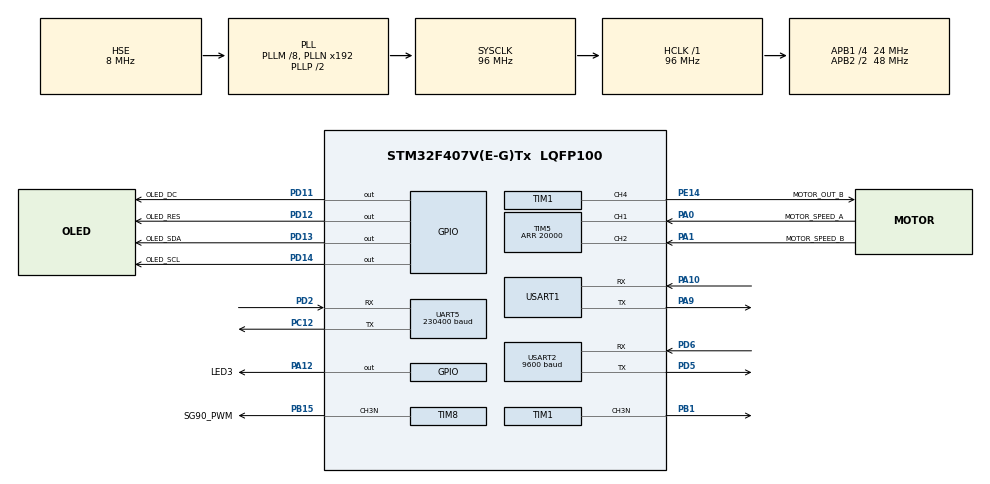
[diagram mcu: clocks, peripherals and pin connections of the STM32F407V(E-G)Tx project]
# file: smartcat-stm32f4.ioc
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Mcu.Family=STM32F4
Mcu.Name=STM32F407V(E-G)Tx
Mcu.Package=LQFP100
NVIC.PriorityGroup=NVIC_PRIORITYGROUP_4
NVIC.TIM3_IRQn=true\:0\:0\:false\:false\:true\:true\:true\:true
NVIC.TIM5_IRQn=true\:0\:0\:false\:false\:true\:true\:true\:true
NVIC.UART5_IRQn=true\:0\:0\:false\:false\:true\:true\:true\:true
NVIC.USART1_IRQn=true\:0\:0\:false\:false\:true\:true\:true\:true
NVIC.USART2_IRQn=true\:0\:0\:false\:false\:true\:true\:true\:true
PA0-WKUP.GPIO_Label=MOTOR_SPEED_A
PA0-WKUP.GPIO_PuPd=GPIO_PULLDOWN
PA0-WKUP.Signal=S_TIM5_CH1
PA1.GPIO_Label=MOTOR_SPEED_B
PA1.GPIO_PuPd=GPIO_PULLDOWN
PA1.Signal=S_TIM5_CH2
PA10.Mode=Asynchronous
PA10.Signal=USART1_RX
PA12.GPIO_Label=LED3
PA12.GPIO_PuPd=GPIO_PULLUP
PA12.Signal=GPIO_Output
PA13.Mode=Serial_Wire
PA13.Signal=SYS_JTMS-SWDIO
PA14.Mode=Serial_Wire
PA14.Signal=SYS_JTCK-SWCLK
PA9.Mode=Asynchronous
PA9.Signal=USART1_TX
PB1.Mode=PWM Generation3 CH3N
PB1.Signal=TIM1_CH3N
PB15.GPIO_Label=SG90_PWM
PB15.Mode=PWM Generation3 CH3N
PB15.Signal=TIM8_CH3N
PB3.GPIO_Label=MONTO_SPEED_B
PB3.GPIO_PuPd=GPIO_PULLUP
PB3.Signal=S_TIM2_CH2
PC12.Mode=Asynchronous
PC12.Signal=UART5_TX
PC14-OSC32_IN.Mode=LSE-External-Oscillator
PC14-OSC32_IN.Signal=RCC_OSC32_IN
PC15-OSC32_OUT.Mode=LSE-External-Oscillator
PC15-OSC32_OUT.Signal=RCC_OSC32_OUT
PD11.GPIO_Label=OLED_DC
PD11.GPIO_ModeDefaultOutputPP=GPIO_MODE_OUTPUT_PP
PD11.GPIO_PuPd=GPIO_NOPULL
PD11.GPIO_Speed=GPIO_SPEED_FREQ_HIGH
PD11.PinState=GPIO_PIN_SET
PD11.Signal=GPIO_Output
PD12.GPIO_Label=OLED_RES
PD12.GPIO_ModeDefaultOutputPP=GPIO_MODE_OUTPUT_PP
PD12.GPIO_PuPd=GPIO_NOPULL
PD12.GPIO_Speed=GPIO_SPEED_FREQ_HIGH
PD12.PinState=GPIO_PIN_SET
PD12.Signal=GPIO_Output
PD13.GPIO_Label=OLED_SDA
PD13.GPIO_ModeDefaultOutputPP=GPIO_MODE_OUTPUT_PP
PD13.GPIO_PuPd=GPIO_NOPULL
PD13.GPIO_Speed=GPIO_SPEED_FREQ_HIGH
PD13.PinState=GPIO_PIN_SET
PD13.Signal=GPIO_Output
PD14.GPIO_Label=OLED_SCL
PD14.GPIO_ModeDefaultOutputPP=GPIO_MODE_OUTPUT_PP
PD14.GPIO_PuPd=GPIO_NOPULL
PD14.GPIO_Speed=GPIO_SPEED_FREQ_HIGH
PD14.PinState=GPIO_PIN_SET
PD14.Signal=GPIO_Output
PD2.Mode=Asynchronous
PD2.Signal=UART5_RX
PD5.Mode=Asynchronous
PD5.Signal=USART2_TX
PD6.Mode=Asynchronous
PD6.Signal=USART2_RX
PE13.GPIO_Label=MOTOR_OUT_A
PE13.Signal=S_TIM1_CH3
PE14.GPIO_Label=MOTOR_OUT_B
PE14.Signal=S_TIM1_CH4
PH0-OSC_IN.Mode=HSE-External-Oscillator
PH0-OSC_IN.Signal=RCC_OSC_IN
PH1-OSC_OUT.Mode=HSE-External-Oscillator
PH1-OSC_OUT.Signal=RCC_OSC_OUT
ProjectManager.HeapSize=0x200
ProjectManager.StackSize=0x400
ProjectManager.TargetToolchain=MDK-ARM V5.32
RCC.48MHZClocksFreq_Value=48000000
RCC.AHBFreq_Value=96000000
RCC.APB1CLKDivider=RCC_HCLK_DIV4
RCC.APB1Freq_Value=24000000
RCC.APB1TimFreq_Value=48000000
RCC.APB2CLKDivider=RCC_HCLK_DIV2
RCC.APB2Freq_Value=48000000
RCC.APB2TimFreq_Value=96000000
RCC.CortexFreq_Value=96000000
RCC.HCLKFreq_Value=96000000
RCC.HSE_VALUE=8000000
RCC.HSI_VALUE=16000000
RCC.PLLM=8
RCC.PLLSourceVirtual=RCC_PLLSOURCE_HSE
RCC.SYSCLKFreq_VALUE=96000000
RCC.SYSCLKSource=RCC_SYSCLKSOURCE_PLLCLK
RCC.VCOOutputFreq_Value=192000000
SH.S_TIM1_CH3.0=TIM1_CH3
SH.S_TIM1_CH4.0=TIM1_CH4,PWM Generation4 CH4
SH.S_TIM2_CH2.0=TIM2_CH2
SH.S_TIM5_CH1.0=TIM5_CH1,Encoder_Interface
SH.S_TIM5_CH2.0=TIM5_CH2,Encoder_Interface
TIM1.AutoReloadPreload=TIM_AUTORELOAD_PRELOAD_ENABLE
TIM1.Channel-PWM\ Generation3\ CH3N=TIM_CHANNEL_3
TIM1.Channel-PWM\ Generation4\ CH4=TIM_CHANNEL_4
TIM1.Period=20000-1
TIM1.Prescaler=96-1
TIM1.Pulse-PWM\ Generation4\ CH4=500
TIM3.AutoReloadPreload=TIM_AUTORELOAD_PRELOAD_ENABLE
TIM3.Period=10000-1
TIM3.Prescaler=480-1
TIM5.AutoReloadPreload=TIM_AUTORELOAD_PRELOAD_ENABLE
TIM5.EncoderMode=TIM_ENCODERMODE_TI12
TIM5.IC1Filter=15
TIM5.IC2Filter=15
TIM5.Period=20000
TIM8.AutoReloadPreload=TIM_AUTORELOAD_PRELOAD_ENABLE
TIM8.Channel-PWM\ Generation3\ CH3=TIM_CHANNEL_3
TIM8.Channel-PWM\ Generation3\ CH3N=TIM_CHANNEL_3
TIM8.Channel-PWM\ Generation4\ CH4=TIM_CHANNEL_4
TIM8.Period=20000-1
TIM8.Prescaler=96-1
UART5.BaudRate=230400
UART5.Mode=MODE_TX_RX
UART5.VirtualMode=Asynchronous
USART1.VirtualMode=VM_ASYNC
USART2.BaudRate=9600
USART2.VirtualMode=VM_ASYNC
VP_TIM1_VS_ClockSourceINT.Mode=Internal
VP_TIM3_VS_ClockSourceINT.Mode=Internal
VP_TIM8_VS_ClockSourceINT.Mode=Internal
board=custom

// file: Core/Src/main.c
/* USER CODE BEGIN Header */
/**
  ******************************************************************************
  * @file           : main.c
  * @brief          : Main program body
  ******************************************************************************
  * @attention
  *
  * Copyright (c) 2024 STMicroelectronics.
  * All rights reserved.
  *
  * This software is licensed under terms that can be found in the LICENSE file
  * in the root directory of this software component.
  * If no LICENSE file comes with this software, it is provided AS-IS.
  *
  ******************************************************************************
  */
/* USER CODE END Header */
#include "main.h"
#include "tim.h"
#include "usart.h"
#include "gpio.h"

/* USER CODE BEGIN Includes */
#include "sg90.h"
#include "ms200.h"
#include "motor.h"
#include "oled.h"
#include "Remote_OLED_display.h"
#include "pid.h"
#include "turn.h"
#include "linearRegression.h"
#include "sg90_test.h"
/* USER CODE END Includes */

/* 卡尔曼滤波器结构?? */
typedef struct {
    float Q;    // 过程噪声协方??
    float R;    // 测量噪声协方??
    float P;    // 估计误差协方??
    float K;    // 卡尔曼增??
    float X;    // 状态估计??
} KalmanFilter;

/* USER CODE BEGIN PD */

/* ========== 舵机调试测试开关 ========== */
/* 设为 1 启用舵机测试模式，设为 0 正常运行 */
#define ENABLE_SG90_TEST 0

/* 舵机测试模式选择（仅当 ENABLE_SG90_TEST = 1 时生效） */
#define SG90_TEST_MODE_SWEEP 1      // 扫动测试
#define SG90_TEST_MODE_STEP  2      // 单步测试
#define SG90_TEST_MODE SG90_TEST_MODE_SWEEP  // 当前测试模式

#ifndef PI
#define PI 3.14159265358979323846
#endif

// ========== 基于速度的卡住检测参数 ==========
#define SPEED_STUCK_THRESHOLD 5.0f        // 速度阈值(mm/s)，低于此值认为可能被卡
#define SPEED_STUCK_CHECK_CYCLES 20       // 连续检测周期数(20*50ms=1秒)
#define SPEED_STUCK_MIN_COMMAND 20        // 最小命令速度，低于此值不检测卡住
#define SPEED_STUCK_BACK_TIME 1000         // 被卡后倒退时间(ms)
#define SPEED_STUCK_RECOVERY_ANGLE 35     // 被卡后恢复转向角度

// ========== 侧边蹭边保护（多角度检测）==========

#define SIDE_10_WARNING_DISTANCE 500   // 10°侧边警告距离(mm)
#define SIDE_10_AVOIDANCE_ANGLE 60     // 10°避让角度增量(度)

#define SIDE_15_WARNING_DISTANCE 400   // 15°侧边警告距离(mm)
#define SIDE_15_AVOIDANCE_ANGLE 60      // 15°避让角度增量(度)

#define SIDE_20_WARNING_DISTANCE 350   // 20°侧边警告距离(mm)
#define SIDE_20_AVOIDANCE_ANGLE 60      // 20°避让角度增量(度)

#define SIDE_60_WARNING_DISTANCE 200   // 60°侧边警告距离(mm)
#define SIDE_60_AVOIDANCE_ANGLE 10     // 60°避让角度增量(度)

#define SIDE_150_WARNING_DISTANCE 450  // 150°侧边警告距离(mm)
#define SIDE_150_AVOIDANCE_ANGLE 5    // 150°避让角度增量(度)，更大因为更侧面

// 分段预警距离定义
#define HOUTUI_WARNING 42
#define DEFAULT_WARRING_DISTANCE_CENTER 420   // 中心10°预警距离(0°-10°, 350°-360°)
#define DEFAULT_WARRING_DISTANCE_INNER  220   // 内侧预警距离(10°-20°, 340°-350°)
#define DEFAULT_WARRING_DISTANCE_OUTER  180   // 外侧预警距离(20°-45°, 315°-340°)
#define REVERSE_COEFFICIENT_CENTER 1.00f   // 中心区域后退系数
#define REVERSE_COEFFICIENT_INNER  1.29f  // 内侧区域后退系数
#define REVERSE_COEFFICIENT_OUTER  1.4f   // 外侧区域后退系数
#define ATTENUATION_COEFFICIENT_CENTER 0.5f   // 中心区域衰减系数
#define ATTENUATION_COEFFICIENT_INNER  0.85f   // 内侧区域衰减系数
#define ATTENUATION_COEFFICIENT_OUTER  0.86f   // 外侧区域衰减系数
#define NUM_ATTENUATION_CYCLES 15             // 衰减周期??

// 预警减速功??
#define JIANSU_DISTANCE 400         // 触发减速的距离阈??(mm)
#define SAFE_SPEED 35               // 减速后的安全速度
#define JIANSU_RECOVERY_DISTANCE 500 // 恢复正常速度的距离阈??(mm)

// 速度控制
#define DEFAULT_SPEED 32  //转弯时的速度
#define DEFAULT_HIGH_SPEED 35 //直道时的速度
#define DEFAULT_AFTER_BACK_ANGLE 30//默认倒车后偏离的角度
#define DEFAULT_BACK_SPEED 70
#define DEFAULT_BACK_HIGH_SPEED 70
#define DEFAULT_STOP_SPEED -100 //紧急止动速度

//曲率判断
#define CURVATURE_THRESHOLD_SHARP 600.0f   // 改小，提前识别急弯
#define CURVATURE_SHARP_EXIT  CURVATURE_THRESHOLD_SHARP * 0.90     // 退出急弯阈值（15%滞后??
#define CURVATURE_THRESHOLD_NORMAL 100.0f  // 改小，提前识别普通弯
#define CURVATURE_NORMAL_EXIT  CURVATURE_THRESHOLD_NORMAL * 0.85    // 退出普通弯阈值（15%滞后??
#define SHARP_DECELERATION_FACTER 0.7f
#define NORMAL_DECELERATION_FACTER 1.0f

#define STRAIGHT_ANGLE_MULTIPLIER 1.2f   // 直道状况下的转角放大系数（可调整，如1.2f表示放大20%）

//U弯检测变??
#define ENTER_U 800.0f         // U弯判定阈值（转角绝对值）
#define NUM_MORE_ANGLE 10.0f   // U弯转角放大系??
static int u_turn_state = 0;          // U弯状态标志：0=正常??1=U弯中

//曲率弯道检测变??
#define CURVATURE_ENTER_THRESHOLD 100.0f    // 曲率弯道判定阈??
#define CURVATURE_ANGLE_MULTIPLIER 1.6f    // 曲率弯道转角放大系数
static int curvature_turn_state = 0;       // 曲率弯道状态标志：0=正常??1=曲率弯道??

static int current_pid_mode = 1;  // 当前PID模式??1/2/3
static int pid_lock_timer = 0;    // PID切换锁定计时??
#define PID_LOCK_CYCLES 5          // PID切换后的锁定周期

/* USER CODE END PD */

static KalmanFilter curvature_kf;
static float filtered_max_curvature = 0.0f;

// 减速功能状态变??
static int deceleration_state = 0;      // 减速状??: 0=正常, 1=减速中
static int normal_speed_backup = 0;     // 备份正常速度

/* USER CODE BEGIN PV */

// 基于速度的卡住检测变量
typedef struct {
    int stuck_counter;           // 卡住计数器
    int is_stuck;               // 卡住状态标志
    int last_command_speed;     // 上次命令速度
} SpeedStuckDetection;

static SpeedStuckDetection speed_stuck_detect = {
    .stuck_counter = 0,
    .is_stuck = 0,
    .last_command_speed = 0
};

//新增：拟合结果变??
FitResult left_fit_result = {FIT_LINEAR, {0,0,0,0}, 0, 0};
FitResult right_fit_result = {FIT_LINEAR, {0,0,0,0}, 0, 0};

/* USER CODE END PV */

void KalmanFilter_Init(KalmanFilter *kf, float Q, float R, float P, float initial_value);
float KalmanFilter_Update(KalmanFilter *kf, float measurement);

void SystemClock_Config(void);
/* USER CODE BEGIN PFP */
void handle_missing_data(int i, MS200_Point* points, float *currentData, float *lastData);
int check_speed_stuck(Motor* motor, int command_speed);
void execute_speed_stuck_recovery(MS200_Point* points);

/* USER CODE END PFP */

/* USER CODE BEGIN 0 */

/**
  * @brief  基于电机速度检测小车是否被卡住
  * @param  motor: 电机状态结构体指针
  * @param  command_speed: 当前命令速度
  * @retval 1=被卡住, 0=正常
  */
int check_speed_stuck(Motor* motor, int command_speed)
{
    // 记录命令速度
    speed_stuck_detect.last_command_speed = command_speed;

    // 如果命令速度太小，不检测（可能是正常停车）
    if(abs(command_speed) < SPEED_STUCK_MIN_COMMAND){
        speed_stuck_detect.stuck_counter = 0;
        return 0;
    }

    // 获取当前实际速度（绝对值）
    float actual_speed = fabs(motor->speed);

    // 判断：命令速度足够大，但实际速度很小
    if(actual_speed < SPEED_STUCK_THRESHOLD){
        speed_stuck_detect.stuck_counter++;

        // 连续多次检测到速度过低，判定为卡住
        if(speed_stuck_detect.stuck_counter >= SPEED_STUCK_CHECK_CYCLES){
            return 1;  // 被卡住
        }
    }
    else{
        // 速度正常，重置计数器（使用衰减而不是直接清零，避免抖动）
        if(speed_stuck_detect.stuck_counter > 0){
            speed_stuck_detect.stuck_counter--;
        }
    }

    return 0;  // 正常
}

/**
  * @brief  执行速度卡住后的脱困动作
  * @param  points: 激光雷达数据点
  * @retval None
  */
void execute_speed_stuck_recovery(MS200_Point* points)
{
    // 停车
    MOTOR_SetSpeed(0);
    HAL_Delay(200);

    // ========== 读取左右35°后方距离 ==========
    float left_back_35, right_back_35;
    float left_back_35_last = 50, right_back_35_last = 50;

    // 左后35°（325°位置）
    handle_missing_data(406, points, &left_back_35, &left_back_35_last);

    // 右后35°（215°位置）
    handle_missing_data(269, points, &right_back_35, &right_back_35_last);

    // 检查后方是否安全
    if(left_back_35 < HOUTUI_WARNING || right_back_35 < HOUTUI_WARNING){
        // 后方也有障碍，尝试原地转向
        SG90_SetAngle(SPEED_STUCK_RECOVERY_ANGLE);
        MOTOR_SetSpeed(25);
        HAL_Delay(400);
        SG90_SetAngle(-SPEED_STUCK_RECOVERY_ANGLE);
        HAL_Delay(400);
        SG90_SetAngle(0);
        MOTOR_SetSpeed(0);
        HAL_Delay(100);
    }
    else{
        // 🔑 后方安全，保持当前角度后退（不改变舵机角度）
        // 注意：不调用 SG90_SetAngle()，保持小车卡住时的转向角度
        MOTOR_SetSpeed(-DEFAULT_BACK_SPEED);
        HAL_Delay(SPEED_STUCK_BACK_TIME);

        // 停止后退
        MOTOR_SetSpeed(0);
        HAL_Delay(100);

        // 前进调整位置（也保持当前角度）
        MOTOR_SetSpeed(30);
        HAL_Delay(300);
    }

    // 重置卡住检测状态
    speed_stuck_detect.stuck_counter = 0;
    speed_stuck_detect.is_stuck = 0;
}

/**
  * @brief  初始化卡尔曼滤波??
  * @param  kf: 卡尔曼滤波器结构体指??
  * @param  Q: 过程噪声协方?? (建议??: 0.01)
  * @param  R: 测量噪声协方?? (建议??: 0.1)
  * @param  P: 初始估计误差协方?? (建议??: 1.0)
  * @param  initial_value: 初始状态??
  * @retval None
  */
void KalmanFilter_Init(KalmanFilter *kf, float Q, float R, float P, float initial_value)
{
    kf->Q = Q;
    kf->R = R;
    kf->P = P;
    kf->K = 0;
    kf->X = initial_value;
}

/**
  * @brief  更新卡尔曼滤波器
  * @param  kf: 卡尔曼滤波器结构体指??
  * @param  measurement: 测量??
  * @retval 滤波后的??
  */
float KalmanFilter_Update(KalmanFilter *kf, float measurement)
{
    // 预测步骤
    // 状态预??: X(k|k-1) = X(k-1|k-1) (假设没有控制输入)
    // 协方差预??: P(k|k-1) = P(k-1|k-1) + Q
    kf->P = kf->P + kf->Q;

    // 更新步骤
    // 计算卡尔曼增??: K(k) = P(k|k-1) / (P(k|k-1) + R)
    kf->K = kf->P / (kf->P + kf->R);

    // 更新状态估??: X(k|k) = X(k|k-1) + K(k) * (Z(k) - X(k|k-1))
    kf->X = kf->X + kf->K * (measurement - kf->X);

    // 更新误差协方??: P(k|k) = (1 - K(k)) * P(k|k-1)
    kf->P = (1 - kf->K) * kf->P;

    return kf->X;
}

#define UART2_RECV_BUFFER_SIZE 96

static uint8_t uart2_recv_buffer[UART2_RECV_BUFFER_SIZE];
Remote_OLED_display_param_handle_t remote_oled_display_handle;

static pid_handle  center_pid;

//左右前方转换角度的pid
static pid_handle  angle_pid ;

//左右前方转换角度的pid参数
static float angle_pid_1[3] = { 0.35 , 0.02 , 0.40};
static float angle_pid_2[3] = { 0.55 , 0.02 , 0.40};
static float angle_pid_3[3] = { 0.60 , 0.02 , 0.40};

/**
  * @brief  应用指定的PID参数模式
  */
void apply_pid_mode(pid_handle *pid, int mode)
{
    switch(mode){
        case 1:
            pid->Kp = angle_pid_1[0];
            pid->Ki = angle_pid_1[1];
            pid->Kd = angle_pid_1[2];
            break;
        case 2:
            pid->Kp = angle_pid_2[0];
            pid->Ki = angle_pid_2[1];
            pid->Kd = angle_pid_2[2];
            break;
        case 3:
            pid->Kp = angle_pid_3[0];
            pid->Ki = angle_pid_3[1];
            pid->Kd = angle_pid_3[2];
            break;
        default:
            pid->Kp = angle_pid_1[0];
            pid->Ki = angle_pid_1[1];
            pid->Kd = angle_pid_1[2];
            break;
    }
}

void HAL_UARTEx_RxEventCallback(UART_HandleTypeDef *huart, uint16_t Size)
{
	uint8_t response[32] = {0};
	size_t response_len = 32;
	if (huart->Instance == USART2)
	{
		remote_oled_display_hexdump("UART-RX",uart2_recv_buffer,Size);
		if(!remote_oled_display_process(remote_oled_display_handle,uart2_recv_buffer,Size,response,&response_len)){
			remote_oled_display_hexdump("UART-TX",response,response_len);
			HAL_UART_Transmit(&huart2, response,response_len,0xffff);
		}
		memset(uart2_recv_buffer,0,UART2_RECV_BUFFER_SIZE);
	}
	HAL_UARTEx_ReceiveToIdle_IT(&huart2, uart2_recv_buffer, UART2_RECV_BUFFER_SIZE);
}

void HAL_UART_RxCpltCallback(UART_HandleTypeDef *huart)
{
	if(huart->Instance == UART5)
	{
		MS200_ReceiveProcess();
	}
}

//计时模块******************************************

//计时模块******************************************

// 定义处理雷达返回数据点的数量
#define SIZE 9

DataPoint LidarRightpoints[SIZE + 1];
DataPoint LidarLeftpoints[SIZE + 1];

// 定义存储??5degree开始逐次增加5，至60degree的正余弦??
static double sin_values[9] = {
    0.3420201433, 0.4226182617, 0.5000000000,
    0.5735764364, 0.6427876097, 0.7071067812,
	  0.7660444431, 0.8191520443, 0.8660254038
};
static double cos_values[9] = {
    0.9396926208, 0.9063077870, 0.8660254038,
    0.8191520443, 0.7660444431, 0.7071067812,
		0.6427876097, 0.5735764364, 0.5000000000
};

// 滤波和去噪的简化函??
void filterAndDenoise2D(DataPoint* points, int size) {
    // 这里只是一个示例，实际滤波去噪会更复杂
    for (int i = 0; i < size; ++i) {
        // 根据具体规则去除噪声??
        // 例如，假设我们移除超出某个范围的??
        if (points[i].xDistance < 0 || points[i].yDistance < 0) {
            points[i].xDistance = 0;
            points[i].yDistance = 0;
        }
    }
}

void handle_missing_data(int i , MS200_Point* points , float *currentData , float *lastData){
	*currentData = points[i].distance / 10;
	if(*currentData != 0){
		*lastData = *currentData;
	}else{
		if(*lastData != 0)
			*currentData = *lastData;
		else
			*currentData = 50;
	}
}

/* USER CODE END 0 */

int main(void)
{

  /* MCU Configuration--------------------------------------------------------*/

  /* Reset of all peripherals, Initializes the Flash interface and the Systick. */
  HAL_Init();

  /* Configure the system clock */
  SystemClock_Config();

  /* Initialize all configured peripherals */
	MX_GPIO_Init();
	MX_UART5_Init();
	MX_USART1_UART_Init();
	MX_TIM3_Init();
	MX_TIM5_Init();
	MX_TIM1_Init();
	MX_TIM8_Init();
	MX_USART2_UART_Init();
  /* USER CODE BEGIN 2 */
    KalmanFilter_Init(&curvature_kf, 0.01f, 0.1f, 1.0f, 0.0f);
	SG90_Init();
	MS200_Init();
	MOTOR_Init();
	OLED_Init();

    MS200_SetRotationSpeed(12);
	SG90_SetAngle(0);
	//*******************css

	//初始化pid
	pid_init(&angle_pid);
	pid_init(&center_pid);
	//pid_init(&speed_pid);
	//左右前方测得的对角线??0度线的角度为0

	//angle初始??
	angle_pid.target_val = 0;
	angle_pid.Kp = angle_pid_1[0];
	angle_pid.Ki = angle_pid_1[1];
	angle_pid.Kd = angle_pid_1[2];
	//center初始??
	center_pid.target_val = 0.5;
	center_pid.Kp = 5;
	center_pid.Ki = 5;
	center_pid.Kd = 5;

	remote_oled_display_init(&remote_oled_display_handle);
    remote_oled_display_set_key(remote_oled_display_handle, NULL, 0);
    remote_oled_display_oled_display_init(remote_oled_display_handle);

    HAL_UARTEx_ReceiveToIdle_IT(&huart2, uart2_recv_buffer, UART2_RECV_BUFFER_SIZE);

#if ENABLE_SG90_TEST
	/* ========== 舵机调试测试模式 ========== */
	printf("\r\n");
	printf("========================================\r\n");
	printf("  SG90 Test Mode Enabled\r\n");
	printf("  Max Angle: +-%d deg\r\n", SG90_MAX_ANGLE);
	printf("  Center Offset: %d us\r\n", SG90_CENTER_OFFSET);
	printf("========================================\r\n");

	HAL_Delay(1000);  // 给串口输出一点时间

#if SG90_TEST_MODE == SG90_TEST_MODE_SWEEP
	/* 扫动测试（无限循环） */
	SG90_SteeringSweepTest();
#elif SG90_TEST_MODE == SG90_TEST_MODE_STEP
	/* 单步测试（循环执行） */
	while(1) {
		SG90_SingleStepTest();
		HAL_Delay(3000);  // 每轮测试之间停顿3秒
		printf("\r\n--- Repeat test in 3s ---\r\n\r\n");
	}
#else
	#error "Invalid SG90_TEST_MODE! Use SG90_TEST_MODE_SWEEP or SG90_TEST_MODE_STEP"
#endif
#endif  /* ENABLE_SG90_TEST */

  /* USER CODE END 2 */

  /* Infinite loop */
  /* USER CODE BEGIN WHILE */
	float left_reverse_coefficient = REVERSE_COEFFICIENT_OUTER;   // 左侧后退系数
	float right_reverse_coefficient = REVERSE_COEFFICIENT_CENTER; // 右侧后退系数

	float distance_left_90,distance_right_90; //mm
	float distance_left_90_last,distance_right_90_last; //mm
	float center_percent;

	// 判断当转角时，一侧与赛道近乎平行
	float distance_L90,distance_L110,distance_L80;
	float distance_L90_last,distance_L110_last,distance_L80_last;

	float distance_R90,distance_R110,distance_R80;
	float distance_R90_last,distance_R110_last,distance_R80_last;

	// 通过去除丢失点，采取临近次数的有效值作为??
	float left_30_distance , left_40_distance ,left_50_distance;
	float left_30_distance_last , left_40_distance_last , left_50_distance_last;

	float right_30_distance , right_40_distance , right_50_distance;
	float right_30_distance_last , right_40_distance_last , right_50_distance_last;

	// 左后??
	float distance_200 , distance_197 , distance_203;
	float distance_200_last, distance_197_last , distance_203_last;
	float distance_left_back_200;

	// 右后??
	float distance_160 , distance_157 , distance_163;
	float distance_160_last, distance_157_last , distance_163_last;
	float distance_right_back_160;

	DataPoint Last_LidarRightpoints[SIZE + 1];
	DataPoint Last_LidarLeftpoints[SIZE + 1];

	// 计时
	int timer = 0;
	int flag = 0;//-1 : ??    1 : ??

	// === 修改：使用三段式预警距离 ===
	float distance_center = DEFAULT_WARRING_DISTANCE_CENTER;  // 中心预警距离
	float distance_inner = DEFAULT_WARRING_DISTANCE_INNER;    // 内侧预警距离
	float distance_outer = DEFAULT_WARRING_DISTANCE_OUTER;    // 外侧预警距离
	int distance_timer = 0;

	int speed = DEFAULT_HIGH_SPEED;
	HAL_Delay(1000);

while (1){
    // ========== 变量声明（在循环开始处） ==========
    float left_min_distance = 1000.0f;
    float right_min_distance = 1000.0f;
    float left_detected_warning = DEFAULT_WARRING_DISTANCE_OUTER;
    float right_detected_warning = DEFAULT_WARRING_DISTANCE_CENTER;
    int min_left_point = 0;
    int min_right_point = 0;

    if(distance_timer != 0){
        distance_timer++;
        // 在衰减周期内，各区域使用各自的衰减系数
        distance_center = DEFAULT_WARRING_DISTANCE_CENTER * ATTENUATION_COEFFICIENT_CENTER;
        distance_inner = DEFAULT_WARRING_DISTANCE_INNER * ATTENUATION_COEFFICIENT_INNER;
        distance_outer = DEFAULT_WARRING_DISTANCE_OUTER * ATTENUATION_COEFFICIENT_OUTER;
    }

    if(distance_timer > NUM_ATTENUATION_CYCLES){
        // 超过衰减周期后，恢复正常预警距离
        distance_timer = 0;
        distance_center = DEFAULT_WARRING_DISTANCE_CENTER;
        distance_inner = DEFAULT_WARRING_DISTANCE_INNER;
        distance_outer = DEFAULT_WARRING_DISTANCE_OUTER;
    }

    Motor* motor1 = MOTOR_GetStatus();
    MS200_Point* points = MS200_GetPointsData();
    HAL_Delay(50);

	    // ========== 【在这里插入】基于速度的卡住检测 ==========
    if(check_speed_stuck(motor1, speed)){
        // 检测到被卡住，执行脱困
        speed_stuck_detect.is_stuck = 1;

        // 刷新雷达数据
        HAL_UARTEx_ReceiveToIdle_IT(&huart2, uart2_recv_buffer, UART2_RECV_BUFFER_SIZE);
        points = MS200_GetPointsData();

        // 执行脱困动作
        execute_speed_stuck_recovery(points);

        // 重新读取雷达数据
        HAL_UARTEx_ReceiveToIdle_IT(&huart2, uart2_recv_buffer, UART2_RECV_BUFFER_SIZE);
        points = MS200_GetPointsData();
        HAL_Delay(50);

        continue;  // 跳过本次循环，重新开始
    }
    // ========== 速度卡住检测结束 ==========

		//speed = DEFAULT_HIGH_SPEED;

		//计算左后轮辐射方向的距离
		handle_missing_data(250 , points , &distance_200 , &distance_200_last);	// 200/0.8=250
		handle_missing_data(246 , points , &distance_197 , &distance_197_last);	// 197/0.8=246.25≈246
		handle_missing_data(254 , points , &distance_203 , &distance_203_last);	// 203/0.8=253.75≈254

		distance_left_back_200 = (distance_200 + distance_197 + distance_203) / 3;

		//计算右后轮辐射方向的距离
		handle_missing_data(200 , points , &distance_160 , &distance_160_last);	// 160/0.8=200
		handle_missing_data(196 , points , &distance_157 , &distance_157_last);	// 157/0.8=196.25≈196
		handle_missing_data(204 , points , &distance_163 , &distance_163_last);	// 163/0.8=203.75≈204

		distance_right_back_160 = (distance_160 + distance_157 + distance_163) / 3;

		for(int i=0; i<SIZE; i++){
			// 右侧角度：20°+i*5° ，转换为索引 (20+i*5)/0.8
		int right_angle_index = (int)floor((20 + i*5) / 0.8);  // 右侧使用向下取整
			double right_distance_cm = points[right_angle_index].distance / 10.0;
			LidarRightpoints[i].xDistance = right_distance_cm * cos_values[i];
			LidarRightpoints[i].yDistance = right_distance_cm * sin_values[i];

			// 非零记录逻辑保持不变
			if(LidarRightpoints[i].xDistance != 0){
				Last_LidarRightpoints[i].xDistance = LidarRightpoints[i].xDistance;
			}else{
				LidarRightpoints[i].xDistance = Last_LidarRightpoints[i].xDistance;
			}

			if(LidarRightpoints[i].yDistance != 0){
				Last_LidarRightpoints[i].yDistance = LidarRightpoints[i].yDistance;
			}else{
				LidarRightpoints[i].yDistance = Last_LidarRightpoints[i].yDistance;
			}

			// 左侧角度：340°-i*5° ，转换为索引 (340-i*5)/0.8
			int left_angle_index = (int)ceil((340 - i*5) / 0.8);
			double left_distance_cm = points[left_angle_index].distance / 10.0;
			LidarLeftpoints[i].xDistance = left_distance_cm * cos_values[i];
			LidarLeftpoints[i].yDistance = left_distance_cm * sin_values[i];

			if(LidarLeftpoints[i].xDistance != 0){
				Last_LidarLeftpoints[i].xDistance = LidarLeftpoints[i].xDistance;
			}else{
				LidarLeftpoints[i].xDistance = Last_LidarLeftpoints[i].xDistance;
			}

			if(LidarLeftpoints[i].yDistance != 0){
				Last_LidarLeftpoints[i].yDistance = LidarLeftpoints[i].yDistance;
			}else{
				LidarLeftpoints[i].yDistance = Last_LidarLeftpoints[i].yDistance;
			}
		}

	    // 数据预处理（保持不变）
        filterAndDenoise2D(LidarRightpoints, SIZE);
        filterAndDenoise2D(LidarLeftpoints, SIZE);

        // ========== 新版：自适应拟合 ==========
        adaptiveFitting(LidarRightpoints, SIZE, &right_fit_result);
        adaptiveFitting(LidarLeftpoints, SIZE, &left_fit_result);

        // 提取曲率值（用于后续逻辑）
        float curvatureRight = right_fit_result.curvature / 100;
        float curvatureLeft = left_fit_result.curvature / 100;

		// 计算原始最大曲率
		float raw_max_curvature = (curvatureLeft > curvatureRight) ? curvatureLeft : curvatureRight;

		// 应用卡尔曼滤波
		filtered_max_curvature = KalmanFilter_Update(&curvature_kf, raw_max_curvature);

		// ========== 减速功能:检测左右10°范围的距离 ==========
		// 检测左侧350°-360°(10°范围)和右侧0°-10°(10°范围)
		float left_10deg_min = 1000.0f;
		float right_10deg_min = 1000.0f;

		// 左侧350°-360°范围检测
		for(int angle = 350; angle <= 360; angle++){
			int left_index = (int)ceil(angle / 0.8);
			if(points[left_index].distance > 10.0f &&
			points[left_index].distance < left_10deg_min){
				left_10deg_min = points[left_index].distance;
			}
		}

		// 右侧0°-10°范围检测
		for(int angle = 0; angle <= 10; angle++){
			int right_index = (int)floor(angle / 0.8);
			if(points[right_index].distance > 10.0f &&
			points[right_index].distance < right_10deg_min){
				right_10deg_min = points[right_index].distance;
			}
		}

		// 计算中心最小距离
		float min_center_distance = (left_10deg_min < right_10deg_min) ?
									left_10deg_min : right_10deg_min;

		// 减速状态机
		if(deceleration_state == 0){
			// 正常状态：检测是否需要减速
			if(min_center_distance < JIANSU_DISTANCE){
				// 触发减速：进入减速状态
				deceleration_state = 1;
				normal_speed_backup = speed;  // 备份当前速度
				speed = SAFE_SPEED;           // 直接设置为安全速度
				MOTOR_SetSpeed(speed);
			}
		}
		else if(deceleration_state == 1){
			// 减速状态：持续使用安全速度，并检测是否可以恢复
			speed = SAFE_SPEED;
			MOTOR_SetSpeed(speed);

			// 检测是否可以恢复正常速度
			if(min_center_distance > JIANSU_RECOVERY_DISTANCE){
				// 距离恢复安全，退出减速状态
				deceleration_state = 0;
				speed = normal_speed_backup;  // 恢复正常速度
				MOTOR_SetSpeed(speed);
			}
		}

    // ========== 前方距离检测 - 三段预警 ==========
    float left_warning_distance = distance_outer;   // 左侧当前预警距离
    float right_warning_distance = distance_center; // 右侧当前预警距离

	// 距离判断 - 三段处理（修改后的版本）
	for(int i=0; i<56; i++){  // 45°范围：45/0.8=56.25≈56个点

		// === 左前方处理：315°-360° ===
		int left_angle = 315 + i;  // 当前角度
		int left_front_index = (int)ceil((315 + i) / 0.8);

		// 确定左侧预警距离 (三段式)
		if(left_angle < 340){
			left_warning_distance = distance_outer;
		} else if(left_angle < 350){
			left_warning_distance = distance_inner;
		} else {
			left_warning_distance = distance_center;
		}

		// 检测左侧最小距离（考虑对应的预警距离）
		if(points[left_front_index].distance <= left_min_distance &&
		points[left_front_index].distance >= 10.0f &&
		points[left_front_index].distance < left_warning_distance){
			left_min_distance = points[left_front_index].distance;
			min_left_point = i;
			left_detected_warning = left_warning_distance;  // 记录此时的预警距离

			// *** 新增：根据角度设置对应的后退系数 ***
			if(left_angle < 340){
				left_reverse_coefficient = REVERSE_COEFFICIENT_OUTER;
			} else if(left_angle < 350){
				left_reverse_coefficient = REVERSE_COEFFICIENT_INNER;
			} else {
				left_reverse_coefficient = REVERSE_COEFFICIENT_CENTER;
			}
		}

		// === 右前方处理：0°-45° ===
		int right_angle = i;  // 当前角度
		int right_front_index = (int)floor(i / 0.8);

		// 确定右侧预警距离 (三段式)
		if(right_angle < 10){
			right_warning_distance = distance_center;
		} else if(right_angle < 20){
			right_warning_distance = distance_inner;
		} else {
			right_warning_distance = distance_outer;
		}

		// 检测右侧最小距离（考虑对应的预警距离）
		if(points[right_front_index].distance <= right_min_distance &&
		points[right_front_index].distance >= 10.0f &&
		points[right_front_index].distance < right_warning_distance){
			right_min_distance = points[right_front_index].distance;
			min_right_point = i;
			right_detected_warning = right_warning_distance;  // 记录此时的预警距离

			// *** 新增：根据角度设置对应的后退系数 ***
			if(right_angle < 10){
				right_reverse_coefficient = REVERSE_COEFFICIENT_CENTER;
			} else if(right_angle < 20){
				right_reverse_coefficient = REVERSE_COEFFICIENT_INNER;
			} else {
				right_reverse_coefficient = REVERSE_COEFFICIENT_OUTER;
			}
		}
	}

    // ========== PID参数自适应管理（移到这里！）==========

    // 1. 更新锁定计时器
    if(pid_lock_timer > 0){
        pid_lock_timer--;
    }

    // 2. 根据曲率和距离共同决定目标PID模式
    int target_pid_mode = current_pid_mode;  // 默认保持当前模式

    // ===== 新增：紧急距离升级优先级最高 =====
    // 当距离小于1.5倍预警距离时，强制升级到急弯模式
    int emergency_distance_upgrade = 0;
    if((left_min_distance > 10.0f && left_min_distance < left_detected_warning * 1.5f) ||
       (right_min_distance > 10.0f && right_min_distance < right_detected_warning * 1.5f)){
        emergency_distance_upgrade = 1;
        target_pid_mode = 3;  // 紧急情况，直接升级到最高级
    }

    // ===== 如果不是紧急距离情况，按曲率正常判断 =====
    if(!emergency_distance_upgrade){
        if(current_pid_mode == 3){
            // 当前在急弯模式，使用退出阈值（避免抖动）
            if(filtered_max_curvature < CURVATURE_SHARP_EXIT){
                // 判断是否降到普通弯
                if(filtered_max_curvature >= CURVATURE_NORMAL_EXIT){
                    target_pid_mode = 2;
                } else {
                    target_pid_mode = 1;
                }
            }
        }
        else if(current_pid_mode == 2){
            // 当前在普通弯模式
            if(filtered_max_curvature >= CURVATURE_THRESHOLD_SHARP){
                target_pid_mode = 3;  // 升级到急弯
            }
            else if(filtered_max_curvature < CURVATURE_NORMAL_EXIT){
                target_pid_mode = 1;  // 降级到直道
            }
        }
        else {  // current_pid_mode == 1
            // 当前在直道模式
            if(filtered_max_curvature >= CURVATURE_THRESHOLD_SHARP){
                target_pid_mode = 3;
            }
            else if(filtered_max_curvature >= CURVATURE_THRESHOLD_NORMAL){
                target_pid_mode = 2;
            }
        }
    }

    // 3. 只在解锁状态下切换，且模式确实改变时才切换
    if(pid_lock_timer == 0 && target_pid_mode != current_pid_mode){
        current_pid_mode = target_pid_mode;
        apply_pid_mode(&angle_pid, current_pid_mode);

        // 紧急距离升级时使用正常锁定周期
        if(emergency_distance_upgrade){
            pid_lock_timer = PID_LOCK_CYCLES;
        } else {
            pid_lock_timer = PID_LOCK_CYCLES;
        }
    }

	// ========== 左前方障碍物后退逻辑修改 ==========

	if(left_min_distance < left_detected_warning &&
	left_min_distance < right_min_distance &&
	left_min_distance > 10.0f){

		distance_timer++;
        // 修改：记录避障前的PID模式（用于调试/日志）
        int pid_before_obstacle = current_pid_mode;

        // 修改：强制切换到急弯模式
        current_pid_mode = 3;
        apply_pid_mode(&angle_pid, 3);

		// 紧急制动
		MOTOR_SetSpeed(DEFAULT_STOP_SPEED);
		HAL_Delay(150);
		MOTOR_SetSpeed(0);
		HAL_UARTEx_ReceiveToIdle_IT(&huart2, uart2_recv_buffer, UART2_RECV_BUFFER_SIZE);
		points = MS200_GetPointsData();

		// 计算激光雷达在90度附近的距离
		handle_missing_data(338 , points , &distance_L90 , &distance_L90_last);
		handle_missing_data(350 , points , &distance_L80 , &distance_L80_last);
		handle_missing_data(325 , points , &distance_L110 , &distance_L110_last);

		if(distance_left_back_200 < HOUTUI_WARNING || distance_right_back_160 < HOUTUI_WARNING){
			// 后方过近，不后退
		}else{
			MOTOR_SetSpeed(-DEFAULT_BACK_SPEED);
			HAL_Delay(100);
			SG90_SetAngle(-DEFAULT_AFTER_BACK_ANGLE);

			int left_check_index = (int)ceil((315 + min_left_point) / 0.8);

			do{
				HAL_UARTEx_ReceiveToIdle_IT(&huart2, uart2_recv_buffer, UART2_RECV_BUFFER_SIZE);
				points = MS200_GetPointsData();

				// 实时更新后方距离
				handle_missing_data(250 , points , &distance_200 , &distance_200_last);
				handle_missing_data(246 , points , &distance_197 , &distance_197_last);
				handle_missing_data(254 , points , &distance_203 , &distance_203_last);
				distance_left_back_200 = (distance_200 + distance_197 + distance_203) / 3;

				handle_missing_data(200 , points , &distance_160 , &distance_160_last);
				handle_missing_data(196 , points , &distance_157 , &distance_157_last);
				handle_missing_data(204 , points , &distance_163 , &distance_163_last);
				distance_right_back_160 = (distance_160 + distance_157 + distance_163) / 3;

				// 检查退出条件：前方安全 OR 后方过近
				if(distance_left_back_200 < HOUTUI_WARNING || distance_right_back_160 < HOUTUI_WARNING){
					break;
				}

				// *** 修改：使用左侧对应的后退系数 ***
			}while(points[left_check_index].distance < left_detected_warning * left_reverse_coefficient);

		}

		// 规整位置
		SG90_SetAngle(DEFAULT_AFTER_BACK_ANGLE);
		MOTOR_SetSpeed(DEFAULT_BACK_HIGH_SPEED);
		HAL_Delay(150);
		SG90_SetAngle(-30);
		MOTOR_SetSpeed(30);

        // 重新读取雷达数据并计算曲率（确保使用最新数据）
        HAL_UARTEx_ReceiveToIdle_IT(&huart2, uart2_recv_buffer, UART2_RECV_BUFFER_SIZE);
        points = MS200_GetPointsData();

        // 根据当前曲率重新选择PID模式（不使用滞后，直接判断）
        if(filtered_max_curvature >= CURVATURE_THRESHOLD_SHARP){
            current_pid_mode = 3;
        }
        else if(filtered_max_curvature >= CURVATURE_THRESHOLD_NORMAL){
            current_pid_mode = 2;
        }
        else{
            current_pid_mode = 1;  // ⚠ 关键：回到直道使用直道PID
        }

        apply_pid_mode(&angle_pid, current_pid_mode);
        pid_lock_timer = PID_LOCK_CYCLES * 2;  // 避障后延长锁定时间，稳定控制

        distance_timer = 1;
	}

	// ========== 右前方障碍物后退逻辑修改 ==========

	else if(right_min_distance < right_detected_warning &&
			right_min_distance < left_min_distance &&
			right_min_distance > 10.0f){

		distance_timer++;

        int pid_before_obstacle = current_pid_mode;
        current_pid_mode = 3;
        apply_pid_mode(&angle_pid, 3);

		MOTOR_SetSpeed(DEFAULT_STOP_SPEED);
		HAL_Delay(150);
		MOTOR_SetSpeed(0);
		HAL_UARTEx_ReceiveToIdle_IT(&huart2, uart2_recv_buffer, UART2_RECV_BUFFER_SIZE);
		points = MS200_GetPointsData();

		// 计算激光雷达在90度附近的距离
		handle_missing_data(112 , points , &distance_R90 , &distance_R90_last);
		handle_missing_data(100 , points , &distance_R80 , &distance_R80_last);
		handle_missing_data(137 , points , &distance_R110 , &distance_R110_last);

		if(distance_left_back_200 < HOUTUI_WARNING || distance_right_back_160 < HOUTUI_WARNING){
			// 后方过近，不后退
		}else{
			MOTOR_SetSpeed(-DEFAULT_BACK_SPEED);
			HAL_Delay(100);
			SG90_SetAngle(DEFAULT_AFTER_BACK_ANGLE);

			int right_check_index = (int)floor(min_right_point / 0.8);

			do{
				HAL_UARTEx_ReceiveToIdle_IT(&huart2, uart2_recv_buffer, UART2_RECV_BUFFER_SIZE);
				points = MS200_GetPointsData();

				// 实时更新后方距离
				handle_missing_data(250 , points , &distance_200 , &distance_200_last);
				handle_missing_data(246 , points , &distance_197 , &distance_197_last);
				handle_missing_data(254 , points , &distance_203 , &distance_203_last);
				distance_left_back_200 = (distance_200 + distance_197 + distance_203) / 3;

				handle_missing_data(200 , points , &distance_160 , &distance_160_last);
				handle_missing_data(196 , points , &distance_157 , &distance_157_last);
				handle_missing_data(204 , points , &distance_163 , &distance_163_last);
				distance_right_back_160 = (distance_160 + distance_157 + distance_163) / 3;

				// 检查退出条件：前方安全 OR 后方过近
				if(distance_left_back_200 < HOUTUI_WARNING || distance_right_back_160 < HOUTUI_WARNING){
					break;
				}

				// *** 修改：使用右侧对应的后退系数 ***
			}while(points[right_check_index].distance < right_detected_warning * right_reverse_coefficient);

		}

		// 规整位置
		SG90_SetAngle(-DEFAULT_AFTER_BACK_ANGLE);
		MOTOR_SetSpeed(DEFAULT_BACK_HIGH_SPEED);
		HAL_Delay(150);
		SG90_SetAngle(30);
		MOTOR_SetSpeed(30);

        // ⚠ 新增：避障结束后重新判断PID
        HAL_UARTEx_ReceiveToIdle_IT(&huart2, uart2_recv_buffer, UART2_RECV_BUFFER_SIZE);
        points = MS200_GetPointsData();

        if(filtered_max_curvature >= CURVATURE_THRESHOLD_SHARP){
            current_pid_mode = 3;
        }
        else if(filtered_max_curvature >= CURVATURE_THRESHOLD_NORMAL){
            current_pid_mode = 2;
        }
        else{
            current_pid_mode = 1;
        }

        apply_pid_mode(&angle_pid, current_pid_mode);
        pid_lock_timer = PID_LOCK_CYCLES * 2;

        distance_timer = 1;
	}

		HAL_UARTEx_ReceiveToIdle_IT(&huart2, uart2_recv_buffer, UART2_RECV_BUFFER_SIZE);
		points = MS200_GetPointsData();

		//转向角度
		float param_angle_float = 0;

		float angle = 0;
			handle_missing_data(413 , points , &left_30_distance , &left_30_distance_last);	// 330/0.8=412.5≈413
			handle_missing_data(388 , points , &left_50_distance , &left_50_distance_last);	// 310/0.8=387.5≈388
			handle_missing_data(400 , points , &left_40_distance , &left_40_distance_last);	// 320/0.8=400

			handle_missing_data(50 , points , &right_40_distance , &right_40_distance_last);	// 40/0.8=50
			handle_missing_data(37 , points , &right_30_distance , &right_30_distance_last);	// 30/0.8=37.5≈37（向下取整）
			handle_missing_data(62 , points , &right_50_distance , &right_50_distance_last);	// 50/0.8=62.5≈62（向下取整）

			if(fabs(change_angle( left_50_distance , right_50_distance , 50 )) > 30){

				if(fabs(change_angle( left_40_distance , right_40_distance , 40 )) > 30){
						angle += ( change_angle( left_30_distance , right_30_distance , 30 ) + (change_angle( left_50_distance , right_50_distance , 50 ) > 0 ? 30 : -30 ) + (change_angle( left_40_distance , right_40_distance , 40 ) > 0 ? 30 : -30 ) ) / 3 ;
				}else{
						angle += ( change_angle( left_30_distance , right_30_distance , 30 ) + (change_angle( left_50_distance , right_50_distance , 50 ) > 0 ? 30 : -30 ) + change_angle( left_40_distance , right_40_distance , 40 )) / 3 ;
				}

			}else{

				if(fabs(change_angle( left_40_distance , right_40_distance , 40 )) > 30){
					angle += ( change_angle( left_30_distance , right_30_distance , 30 ) + change_angle( left_50_distance , right_50_distance , 50) + (change_angle( left_40_distance , right_40_distance , 40 ) > 0 ? 30 : -30 ) ) / 3 ;
				}else{
					angle += ( change_angle( left_30_distance , right_30_distance , 30 ) + change_angle( left_50_distance , right_50_distance , 50 ) + change_angle( left_40_distance , right_40_distance , 40 )) / 3 ;
				}

			}

			param_angle_float = pid_realize(&angle_pid , angle);

		handle_missing_data(338 , points , &distance_left_90 , &distance_left_90_last);	// 270/0.8=337.5≈338
		handle_missing_data(112 , points , &distance_right_90 , &distance_right_90_last);	// 90/0.8=112.5≈112（向下取整）
		if(distance_left_90 !=0 && distance_right_90 != 0){
				//获取左右侧距离的权重
			center_percent = distance_left_90 / (distance_left_90 + distance_right_90);
				//根据权重获取待转的角度
			param_angle_float += pid_realize(&center_pid,center_percent);
		}

		int param_angle_int = param_angle_float;

		// ========== 直道转角倍数处理 ==========
		// 判断是否为直道状况：PID模式1 且 不在U弯 且 不在曲率弯道
		if(current_pid_mode == 1 && u_turn_state == 0 && curvature_turn_state == 0){
			param_angle_int = param_angle_int * STRAIGHT_ANGLE_MULTIPLIER;
		}

		// ========== 【新增】舵机物理限幅（±20°）==========
		#define SERVO_MAX_ANGLE 20
		if(param_angle_int > SERVO_MAX_ANGLE){
			param_angle_int = SERVO_MAX_ANGLE;
		}
		if(param_angle_int < -SERVO_MAX_ANGLE){
			param_angle_int = -SERVO_MAX_ANGLE;
		}

		// 10°位置
		int left_10_index = (int)ceil(350.0 / 0.8);   // 350°/0.8=437.5≈438
		int right_10_index = (int)floor(10.0 / 0.8);  // 10°/0.8=12.5≈12

		// 15°位置
		int left_15_index = (int)ceil(345.0 / 0.8);   // 345°/0.8=431.25≈432
		int right_15_index = (int)floor(15.0 / 0.8);  // 15°/0.8=18.75≈18

		// 20°位置
		int left_20_index = (int)ceil(340.0 / 0.8);   // 340°/0.8=425≈425
		int right_20_index = (int)floor(20.0 / 0.8);  // 20°/0.8=25≈25

		// 60°位置（原有代码已定义）
		int left_60_index = (int)ceil(300.0 / 0.8);   // 300°/0.8=375≈375
		int right_60_index = (int)floor(60.0 / 0.8);  // 60°/0.8=75≈75

		// 150°位置（原有代码已定义）
		int left_150_index = (int)ceil(210.0 / 0.8);  // 210°/0.8=262.5≈263
		int right_150_index = (int)floor(150.0 / 0.8); // 150°/0.8=187.5≈187

		// 读取距离数据
		float left_10_distance = points[left_10_index].distance;
		float right_10_distance = points[right_10_index].distance;

		float left_15_distance = points[left_15_index].distance;
		float right_15_distance = points[right_15_index].distance;

		float left_20_distance = points[left_20_index].distance;
		float right_20_distance = points[right_20_index].distance;

		float left_60_distance = points[left_60_index].distance;
		float right_60_distance = points[right_60_index].distance;

		float left_150_distance = points[left_150_index].distance;
		float right_150_distance = points[right_150_index].distance;

		// ========== 侧边蹭边保护（按优先级从高到低）==========

		// 左侧10°危险（最接近前方，最优先）
		if(left_10_distance > 10.0f && left_10_distance < SIDE_10_WARNING_DISTANCE){
			param_angle_int += SIDE_10_AVOIDANCE_ANGLE;
			if(param_angle_int > SERVO_MAX_ANGLE) param_angle_int = SERVO_MAX_ANGLE;
		}

		// 右侧10°危险
		if(right_10_distance > 10.0f && right_10_distance < SIDE_10_WARNING_DISTANCE){
			param_angle_int -= SIDE_10_AVOIDANCE_ANGLE;
			if(param_angle_int < -SERVO_MAX_ANGLE) param_angle_int = -SERVO_MAX_ANGLE;
		}

		// 左侧15°危险
		if(left_15_distance > 10.0f && left_15_distance < SIDE_15_WARNING_DISTANCE){
			param_angle_int += SIDE_15_AVOIDANCE_ANGLE;
			if(param_angle_int > SERVO_MAX_ANGLE) param_angle_int = SERVO_MAX_ANGLE;
		}

		// 右侧15°危险
		if(right_15_distance > 10.0f && right_15_distance < SIDE_15_WARNING_DISTANCE){
			param_angle_int -= SIDE_15_AVOIDANCE_ANGLE;
			if(param_angle_int < -SERVO_MAX_ANGLE) param_angle_int = -SERVO_MAX_ANGLE;
		}

		// 左侧20°危险
		if(left_20_distance > 10.0f && left_20_distance < SIDE_20_WARNING_DISTANCE){
			param_angle_int += SIDE_20_AVOIDANCE_ANGLE;
			if(param_angle_int > SERVO_MAX_ANGLE) param_angle_int = SERVO_MAX_ANGLE;
		}

		// 右侧20°危险
		if(right_20_distance > 10.0f && right_20_distance < SIDE_20_WARNING_DISTANCE){
			param_angle_int -= SIDE_20_AVOIDANCE_ANGLE;
			if(param_angle_int < -SERVO_MAX_ANGLE) param_angle_int = -SERVO_MAX_ANGLE;
		}

		// 左侧60°危险
		if(left_60_distance > 10.0f && left_60_distance < SIDE_60_WARNING_DISTANCE){
			param_angle_int += SIDE_60_AVOIDANCE_ANGLE;
			if(param_angle_int > SERVO_MAX_ANGLE) param_angle_int = SERVO_MAX_ANGLE;
		}

		// 右侧60°危险
		if(right_60_distance > 10.0f && right_60_distance < SIDE_60_WARNING_DISTANCE){
			param_angle_int -= SIDE_60_AVOIDANCE_ANGLE;
			if(param_angle_int < -SERVO_MAX_ANGLE) param_angle_int = -SERVO_MAX_ANGLE;
		}

		// 左侧150°危险（最侧面）
		if(left_150_distance > 10.0f && left_150_distance < SIDE_150_WARNING_DISTANCE){
			param_angle_int += SIDE_150_AVOIDANCE_ANGLE;
			if(param_angle_int > SERVO_MAX_ANGLE) param_angle_int = SERVO_MAX_ANGLE;
		}

		// 右侧150°危险
		if(right_150_distance > 10.0f && right_150_distance < SIDE_150_WARNING_DISTANCE){
			param_angle_int -= SIDE_150_AVOIDANCE_ANGLE;
			if(param_angle_int < -SERVO_MAX_ANGLE) param_angle_int = -SERVO_MAX_ANGLE;
		}

		// ========== U弯检测 ==========
		if(filtered_max_curvature >= ENTER_U && u_turn_state == 0){
			u_turn_state = 1;
			curvature_turn_state = 0;
		}

		if(u_turn_state == 1){
			param_angle_int = param_angle_int * NUM_MORE_ANGLE;

			// 【重要】U弯时也要限幅
			if(param_angle_int > SERVO_MAX_ANGLE) param_angle_int = SERVO_MAX_ANGLE;
			if(param_angle_int < -SERVO_MAX_ANGLE) param_angle_int = -SERVO_MAX_ANGLE;

			if(filtered_max_curvature < ENTER_U * 0.75f){
				u_turn_state = 0;

				// ⚠ 修复：退出U弯时，根据当前曲率决定下一个状态
				if(filtered_max_curvature >= CURVATURE_ENTER_THRESHOLD){
					// 仍在弯道中，激活曲率弯道状态
					curvature_turn_state = 1;
				}

				// 根据当前曲率恢复速度
				if(filtered_max_curvature > CURVATURE_THRESHOLD_SHARP){
					speed = DEFAULT_SPEED * SHARP_DECELERATION_FACTER;
				}
				else if(filtered_max_curvature > CURVATURE_THRESHOLD_NORMAL){
					speed = DEFAULT_SPEED * NORMAL_DECELERATION_FACTER;
				}
				else{
					speed = DEFAULT_HIGH_SPEED;
				}
			}
		}

		// ========== 曲率弯道检测 ==========
		else if(filtered_max_curvature >= CURVATURE_ENTER_THRESHOLD && curvature_turn_state == 0){
			curvature_turn_state = 1;
		}

		if(curvature_turn_state == 1 && u_turn_state == 0){
			param_angle_int = param_angle_int * CURVATURE_ANGLE_MULTIPLIER;

			// 【重要】曲率弯道时也要限幅
			if(param_angle_int > SERVO_MAX_ANGLE) param_angle_int = SERVO_MAX_ANGLE;
			if(param_angle_int < -SERVO_MAX_ANGLE) param_angle_int = -SERVO_MAX_ANGLE;

			if(filtered_max_curvature < CURVATURE_ENTER_THRESHOLD * 0.75f){
				curvature_turn_state = 0;
			}
		}

		SG90_SetAngle(param_angle_int);
		MOTOR_SetSpeed(speed);

        remote_oled_display_oled_data_t oled_data = {
            .angle = param_angle_int,
            .center_percent = center_percent,
            .left_curvature = left_fit_result.curvature / 100,
            .right_curvature = right_fit_result.curvature / 100,
            .left_fit_type = left_fit_result.type,
            .left_r_squared = left_fit_result.r_squared * 100,
            .distance_30 = points[37].distance / 10,
            .distance_330 = points[413].distance / 10,
            .speed = speed,
            .u_turn_state = u_turn_state,
            .curvature_turn_state = curvature_turn_state,
            .deceleration_state = deceleration_state
        };

		remote_oled_display_oled_display_update(remote_oled_display_handle, &oled_data);
		OLED_Clear();

        // ??0：转?? + 中心偏移
        OLED_ShowFloat(0, 0, param_angle_int);
        OLED_ShowFloat(60, 0, center_percent);

        // ??1：左右曲率（新增??
        OLED_ShowFloat(0, 16, left_fit_result.curvature / 100);   // 除以100显示
        OLED_ShowFloat(60, 16, right_fit_result.curvature / 100);

        // ??2：拟合类?? + R?值（新增??
        OLED_ShowFloat(0, 32, motor1->speed);                      // 实际速度
		OLED_ShowFloat(40, 32, speed_stuck_detect.stuck_counter);  // 卡住计数器

        // ??3：原有距离显??
        OLED_ShowFloat(0, 48, points[37].distance / 10);	// 30/0.8=37.5??37（向下取整）
        OLED_ShowFloat(60, 48, points[413].distance / 10);	// 330/0.8=412.5??413

        OLED_Display();
		HAL_Delay(50);

		HAL_UARTEx_ReceiveToIdle_IT(&huart2, uart2_recv_buffer, UART2_RECV_BUFFER_SIZE);
    /* USER CODE END WHILE */

  }
}

void SystemClock_Config(void)
{
  RCC_OscInitTypeDef RCC_OscInitStruct = {0};
  RCC_ClkInitTypeDef RCC_ClkInitStruct = {0};

  /** Configure the main internal regulator output voltage
  */
  __HAL_RCC_PWR_CLK_ENABLE();
  __HAL_PWR_VOLTAGESCALING_CONFIG(PWR_REGULATOR_VOLTAGE_SCALE1);

  /** Initializes the RCC Oscillators according to the specified parameters
  * in the RCC_OscInitTypeDef structure.
  */
  RCC_OscInitStruct.OscillatorType = RCC_OSCILLATORTYPE_HSE;
  RCC_OscInitStruct.HSEState = RCC_HSE_ON;
  RCC_OscInitStruct.PLL.PLLState = RCC_PLL_ON;
  RCC_OscInitStruct.PLL.PLLSource = RCC_PLLSOURCE_HSE;
  RCC_OscInitStruct.PLL.PLLM = 8;
  RCC_OscInitStruct.PLL.PLLN = 192;
  RCC_OscInitStruct.PLL.PLLP = RCC_PLLP_DIV2;
  RCC_OscInitStruct.PLL.PLLQ = 4;
  if (HAL_RCC_OscConfig(&RCC_OscInitStruct) != HAL_OK)
  {
    Error_Handler();
  }

  /** Initializes the CPU, AHB and APB buses clocks
  */
  RCC_ClkInitStruct.ClockType = RCC_CLOCKTYPE_HCLK|RCC_CLOCKTYPE_SYSCLK
                              |RCC_CLOCKTYPE_PCLK1|RCC_CLOCKTYPE_PCLK2;
  RCC_ClkInitStruct.SYSCLKSource = RCC_SYSCLKSOURCE_PLLCLK;
  RCC_ClkInitStruct.AHBCLKDivider = RCC_SYSCLK_DIV1;
  RCC_ClkInitStruct.APB1CLKDivider = RCC_HCLK_DIV4;
  RCC_ClkInitStruct.APB2CLKDivider = RCC_HCLK_DIV2;

  if (HAL_RCC_ClockConfig(&RCC_ClkInitStruct, FLASH_LATENCY_3) != HAL_OK)
  {
    Error_Handler();
  }
}

void Error_Handler(void)
{
  __disable_irq();
  while (1)
  {
  }
}
